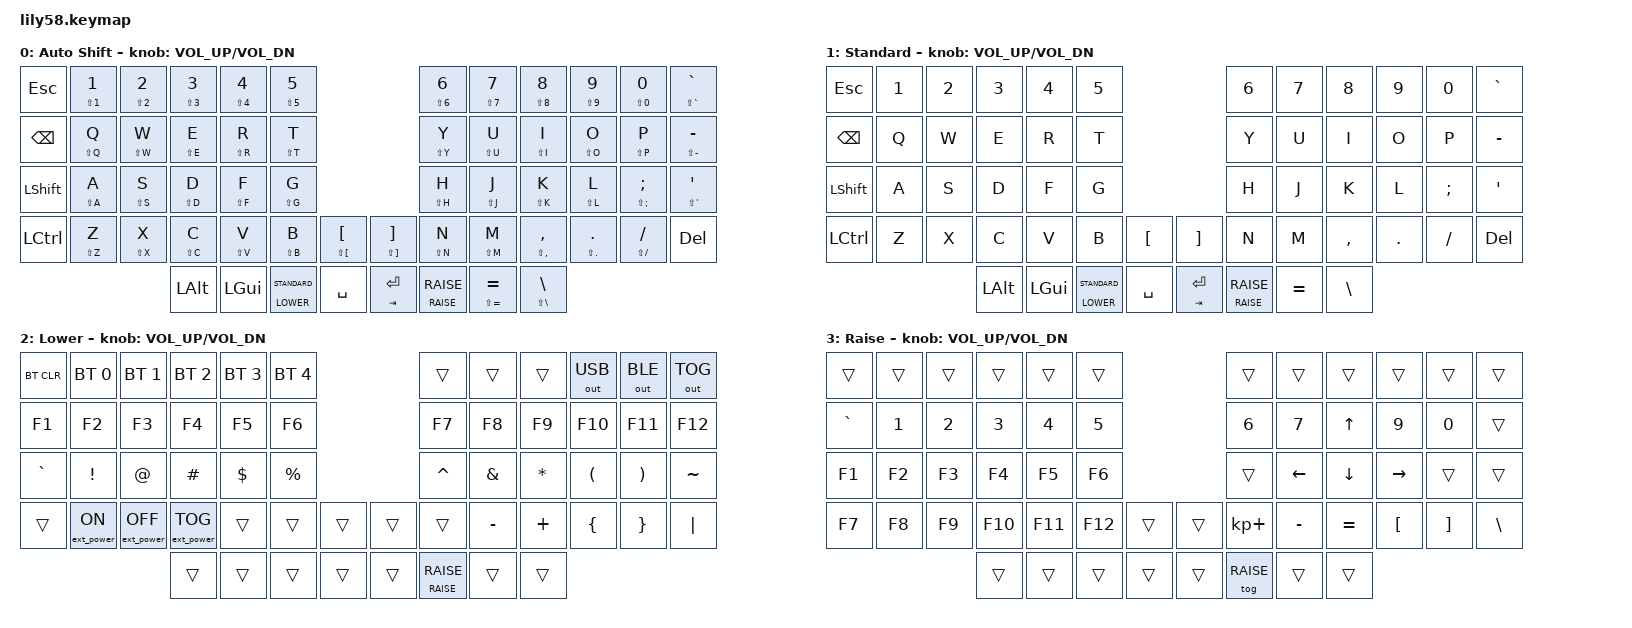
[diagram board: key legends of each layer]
/*
 * Copyright (c) 2020 The ZMK Contributors
 *
 * Lily58 starter keymap, based on the ZMK project's stock Lily58 keymap.
 *
 * SPDX-License-Identifier: MIT
 */

#define AUTOSHIFT 0
#define STANDARD 1
#define LOWER 2
#define RAISE 3

#include <behaviors.dtsi>
#include <dt-bindings/zmk/bt.h>
#include <dt-bindings/zmk/ext_power.h>
#include <dt-bindings/zmk/keys.h>
#include <dt-bindings/zmk/outputs.h>

/ {
    behaviors {
        auto_shift: auto_shift {
            compatible = "zmk,behavior-hold-tap";
            display-name = "Auto Shift";
            bindings = <&kp>, <&kp>;

            #binding-cells = <2>;

            // Tap for the normal letter; hold for its shifted counterpart.

            tapping-term-ms = <175>;
            quick-tap-ms = <0>;
            flavor = "tap-preferred";
            require-prior-idle-ms = <80>;
        };

        lower_mode: lower_mode {
            compatible = "zmk,behavior-hold-tap";
            display-name = "Lower / Auto Shift Toggle";
            bindings = <&mo>, <&tog>;

            #binding-cells = <2>;

            // Hold for Lower; tap to toggle the Standard layer over Auto Shift.

            tapping-term-ms = <200>;
            quick-tap-ms = <0>;
            flavor = "hold-preferred";
        };

        raise_nav: raise_nav {
            compatible = "zmk,behavior-hold-tap";
            display-name = "Raise Momentary / Toggle";
            bindings = <&mo>, <&tog>;

            #binding-cells = <2>;

            // Hold for momentary Raise; tap to lock or unlock Raise.

            tapping-term-ms = <200>;
            quick-tap-ms = <0>;
            flavor = "hold-preferred";
        };

        enter_tab: enter_tab {
            compatible = "zmk,behavior-hold-tap";
            display-name = "Enter / Tab";
            bindings = <&kp>, <&kp>;

            #binding-cells = <2>;

            // Tap for Enter; hold for Tab.

            tapping-term-ms = <200>;
            quick-tap-ms = <0>;
            flavor = "tap-preferred";
        };
    };

    keymap {
        compatible = "zmk,keymap";

        base_layer {
            display-name = "Auto Shift";

            // ------------------------------------------------------------------------------------------------------------
            // |  ESC  |  1  |  2  |  3   |  4   |  5   |                   |  6   |  7    |  8    |  9   |   0   |   `   |
            // | BSPC  |  Q  |  W  |  E   |  R   |  T   |                   |  Y   |  U    |  I    |  O   |   P   |   -   |
            // | SHIFT |  A  |  S  |  D   |  F   |  G   |                   |  H   |  J    |  K    |  L   |   ;   |   '   |
            // | CTRL  |  Z  |  X  |  C   |  V   |  B   |   [    |  |   ]   |  N   |  M    |  ,    |  .   |   /   |  DEL  |
            //                     | ALT  | GUI  | MODE |  SPACE |  |ENT/TAB|  NAV |  =/+  |  \\|  |

            bindings = <
&kp ESC         &auto_shift LS(N1) N1  &auto_shift LS(N2) N2  &auto_shift LS(N3) N3  &auto_shift LS(N4) N4  &auto_shift LS(N5) N5                                                          &auto_shift LS(N6) N6    &auto_shift LS(N7) N7        &auto_shift LS(N8) N8                &auto_shift LS(N9) N9    &auto_shift LS(N0) N0      &auto_shift LS(GRAVE) GRAVE
&kp BACKSPACE   &auto_shift LS(Q) Q    &auto_shift LS(W) W    &auto_shift LS(E) E    &auto_shift LS(R) R    &auto_shift LS(T) T                                                            &auto_shift LS(Y) Y      &auto_shift LS(U) U          &auto_shift LS(I) I                  &auto_shift LS(O) O      &auto_shift LS(P) P        &auto_shift LS(MINUS) MINUS
&kp LEFT_SHIFT  &auto_shift LS(A) A    &auto_shift LS(S) S    &auto_shift LS(D) D    &auto_shift LS(F) F    &auto_shift LS(G) G                                                            &auto_shift LS(H) H      &auto_shift LS(J) J          &auto_shift LS(K) K                  &auto_shift LS(L) L      &auto_shift LS(SEMI) SEMI  &auto_shift LS(SQT) SQT
&kp LCTRL       &auto_shift LS(Z) Z    &auto_shift LS(X) X    &auto_shift LS(C) C    &auto_shift LS(V) V    &auto_shift LS(B) B    &auto_shift LS(LBKT) LBKT    &auto_shift LS(RBKT) RBKT  &auto_shift LS(N) N      &auto_shift LS(M) M          &auto_shift LS(COMMA) COMMA          &auto_shift LS(DOT) DOT  &auto_shift LS(FSLH) FSLH  &kp DELETE
                                                              &kp LALT               &kp LGUI               &lower_mode LOWER STANDARD  &kp SPACE                    &enter_tab TAB RET         &raise_nav RAISE RAISE  &auto_shift LS(EQUAL) EQUAL  &auto_shift LS(BACKSLASH) BACKSLASH
            >;

            sensor-bindings = <&inc_dec_kp C_VOL_UP C_VOL_DN>;
        };

        standard_layer {
            display-name = "Standard";

            // Same physical layout as Auto Shift, with normal key presses instead.

            bindings = <
&kp ESC         &kp N1  &kp N2  &kp N3    &kp N4    &kp N5                            &kp N6                       &kp N7    &kp N8     &kp N9   &kp N0    &kp GRAVE
&kp BACKSPACE   &kp Q   &kp W   &kp E     &kp R     &kp T                             &kp Y                        &kp U     &kp I      &kp O    &kp P     &kp MINUS
&kp LEFT_SHIFT  &kp A   &kp S   &kp D     &kp F     &kp G                             &kp H                        &kp J     &kp K      &kp L    &kp SEMI  &kp SQT
&kp LCTRL       &kp Z   &kp X   &kp C     &kp V     &kp B      &kp LBKT     &kp RBKT  &kp N                        &kp M     &kp COMMA  &kp DOT  &kp FSLH  &kp DELETE
                                &kp LALT  &kp LGUI  &lower_mode LOWER STANDARD  &kp SPACE    &enter_tab TAB RET  &raise_nav RAISE RAISE  &kp EQUAL  &kp BACKSLASH
            >;

            sensor-bindings = <&inc_dec_kp C_VOL_UP C_VOL_DN>;
        };

        lower_layer {
            display-name = "Lower";

            // ------------------------------------------------------------------------------------------------------------
            // | BTCLR | BT1 | BT2 | BT3  | BT4  | BT5  |                   |      |       |       | USB  |  BLE  | TOGGLE|
            // |  F1   |  F2 |  F3 |  F4  |  F5  |  F6  |                   |  F7  |  F8   |  F9   |  F10 |  F11  |  F12  |
            // |   `   |  !  |  @  |  #   |  $   |  %   |                   |  ^   |  &    |  *    |  (   |   )   |   ~   |
            // |       | PWR | PWR | PWR  |      |      |        |  |       |      |  _    |  +    |  {   |   }   |   |   |
            //                     |      |      |      |        |  |       |      |       |       |

            bindings = <
&bt BT_CLR  &bt BT_SEL 0      &bt BT_SEL 1       &bt BT_SEL 2       &bt BT_SEL 3  &bt BT_SEL 4                    &trans                   &trans     &trans     &out OUT_USB  &out OUT_BLE  &out OUT_TOG
&kp F1      &kp F2            &kp F3             &kp F4             &kp F5        &kp F6                          &kp F7                   &kp F8     &kp F9     &kp F10       &kp F11       &kp F12
&kp GRAVE   &kp EXCL          &kp AT             &kp HASH           &kp DOLLAR    &kp PRCNT                       &kp CARET                &kp AMPS   &kp ASTRK  &kp LPAR      &kp RPAR      &kp TILDE
&trans      &ext_power EP_ON  &ext_power EP_OFF  &ext_power EP_TOG  &trans        &trans        &trans    &trans  &trans                   &kp MINUS  &kp PLUS   &kp LBRC      &kp RBRC      &kp PIPE
                                                 &trans             &trans        &trans        &trans    &trans  &raise_nav RAISE RAISE  &trans     &trans
            >;

            sensor-bindings = <&inc_dec_kp C_VOL_UP C_VOL_DN>;
        };

        raise_layer {
            display-name = "Raise";

            // ------------------------------------------------------------------------------------------------------------
            // |       |     |     |      |      |      |                   |      |       |       |      |       |       |
            // |   `   |  1  |  2  |  3   |  4   |  5   |                   |  6   |   7   |   ^   |  9   |   0   |       |
            // |  F1   |  F2 |  F3 |  F4  |  F5  |  F6  |                   |      |   <-  |   v   |  ->  |       |       |
            // |  F7   |  F8 |  F9 |  F10 |  F11 |  F12 |        |  |       |  +   |   -   |   =   |  [   |   ]   |   \\  |
            //                     |      |      |      |        |  |       |      |       |       |

            bindings = <
&trans     &trans  &trans  &trans   &trans   &trans                     &trans                      &trans     &trans     &trans    &trans     &trans
&kp GRAVE  &kp N1  &kp N2  &kp N3   &kp N4   &kp N5                     &kp N6                      &kp N7     &kp UP     &kp N9    &kp N0     &trans
&kp F1     &kp F2  &kp F3  &kp F4   &kp F5   &kp F6                     &trans                      &kp LEFT   &kp DOWN   &kp RIGHT  &trans     &trans
&kp F7     &kp F8  &kp F9  &kp F10  &kp F11  &kp F12  &trans    &trans  &kp KP_PLUS                 &kp MINUS  &kp EQUAL  &kp LBKT  &kp RBKT   &kp BSLH
                           &trans   &trans   &trans   &trans    &trans  &tog RAISE  &trans     &trans
            >;

            sensor-bindings = <&inc_dec_kp C_VOL_UP C_VOL_DN>;
        };

        // Reserved layers can be enabled and populated from ZMK Studio.

        extra_1 { status = "reserved"; };

        extra_2 { status = "reserved"; };

        extra_3 { status = "reserved"; };
    };
};
